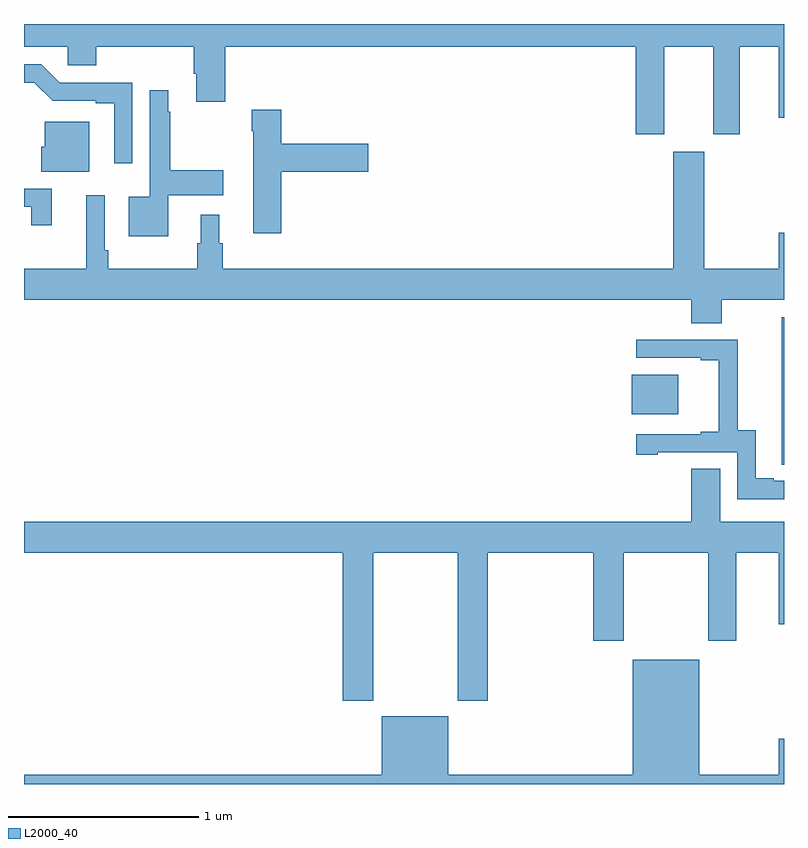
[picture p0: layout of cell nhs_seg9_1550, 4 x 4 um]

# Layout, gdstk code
import gdstk
lib = gdstk.Library(unit=1e-6, precision=1e-09)
def R(c, l, rs):  # rectangles x0, y0, x1, y1
    for r in rs: c.add(gdstk.rectangle(r[:2], r[2:], *l))
def P(c, l, *ps):  # polygons
    for p in ps: c.add(gdstk.Polygon(p, *l))
L2000_40 = (2000, 40)

nhs_seg9_1550 = lib.new_cell('nhs_seg9_1550')
R(nhs_seg9_1550, L2000_40, [(200.198,1234.445,200.443,1234.654)])
P(nhs_seg9_1550, L2000_40, [(200.371,1236.38),(200.627,1236.38),(200.627,1235.919),(200.767,1235.919),(200.767,1236.38),(200.972,1236.38),(200.972,1236.006),(201,1236.006),(201,1236.5),(197,1236.5),(197,1236.38),(197.229,1236.38),(197.229,1236.282),(197.381,1236.282),(197.381,1236.38),(197.894,1236.38),(197.894,1236.238),(197.906,1236.238),(197.906,1236.09),(198.059,1236.09),(198.059,1236.38),(200.219,1236.38),(200.219,1235.919),(200.371,1235.919)],
  [(197.571,1236.192),(197.187,1236.192),(197.091,1236.288),(197,1236.288),(197,1236.192),(197.055,1236.192),(197.151,1236.096),(197.378,1236.096),(197.378,1236.084),(197.474,1236.084),(197.474,1235.766),(197.571,1235.766)],
  [(197.758,1235.6),(198.049,1235.6),(198.049,1235.73),(197.77,1235.73),(197.77,1236.038),(197.758,1236.038),(197.758,1236.151),(197.661,1236.151),(197.661,1235.59),(197.552,1235.59),(197.552,1235.384),(197.758,1235.384)],
  [(198.353,1235.723),(198.811,1235.723),(198.811,1235.87),(198.353,1235.87),(198.353,1236.049),(198.199,1236.049),(198.199,1235.936),(198.206,1235.936),(198.206,1235.4),(198.353,1235.4)],
  [(197.344,1235.986),(197.108,1235.986),(197.108,1235.853),(197.09,1235.853),(197.09,1235.723),(197.344,1235.723)],
  [(200.673,1235.048),(201,1235.048),(201,1235.401),(200.972,1235.401),(200.972,1235.212),(200.581,1235.212),(200.581,1235.827),(200.417,1235.827),(200.417,1235.212),(198.047,1235.212),(198.047,1235.346),(198.028,1235.346),(198.028,1235.497),(197.93,1235.497),(197.93,1235.346),(197.911,1235.346),(197.911,1235.212),(197.444,1235.212),(197.444,1235.308),(197.424,1235.308),(197.424,1235.599),(197.327,1235.599),(197.327,1235.212),(197,1235.212),(197,1235.048),(200.513,1235.048),(200.513,1234.924),(200.673,1234.924)],
  [(197.147,1235.634),(197,1235.634),(197,1235.538),(197.038,1235.538),(197.038,1235.442),(197.147,1235.442)],
  [(201,1234.956),(200.987,1234.956),(200.987,1234.288),(200.988,1234.288),(200.988,1234.18),(201,1234.18)],
  [(201,1234.095),(200.947,1234.095),(200.947,1234.11),(200.851,1234.11),(200.851,1234.361),(200.757,1234.361),(200.757,1234.839),(200.223,1234.839),(200.223,1234.743),(200.561,1234.743),(200.561,1234.731),(200.657,1234.731),(200.657,1234.354),(200.561,1234.354),(200.561,1234.341),(200.223,1234.341),(200.223,1234.233),(200.335,1234.233),(200.335,1234.245),(200.754,1234.245),(200.754,1233.999),(201,1233.999)],
  [(198.837,1233.716),(199.282,1233.716),(199.282,1232.937),(199.442,1232.937),(199.442,1233.716),(199.997,1233.716),(199.997,1233.255),(200.157,1233.255),(200.157,1233.716),(200.602,1233.716),(200.602,1233.255),(200.749,1233.255),(200.749,1233.716),(200.972,1233.716),(200.972,1233.342),(201,1233.342),(201,1233.88),(200.665,1233.88),(200.665,1234.16),(200.513,1234.16),(200.513,1233.88),(197,1233.88),(197,1233.716),(198.677,1233.716),(198.677,1232.937),(198.837,1232.937)],
  [(201,1232.737),(200.972,1232.737),(200.972,1232.548),(200.554,1232.548),(200.554,1233.154),(200.204,1233.154),(200.204,1232.548),(199.234,1232.548),(199.234,1232.857),(198.884,1232.857),(198.884,1232.548),(197,1232.548),(197,1232.5),(201,1232.5)])

lib.write_gds('nhs_seg9_1550.gds')
